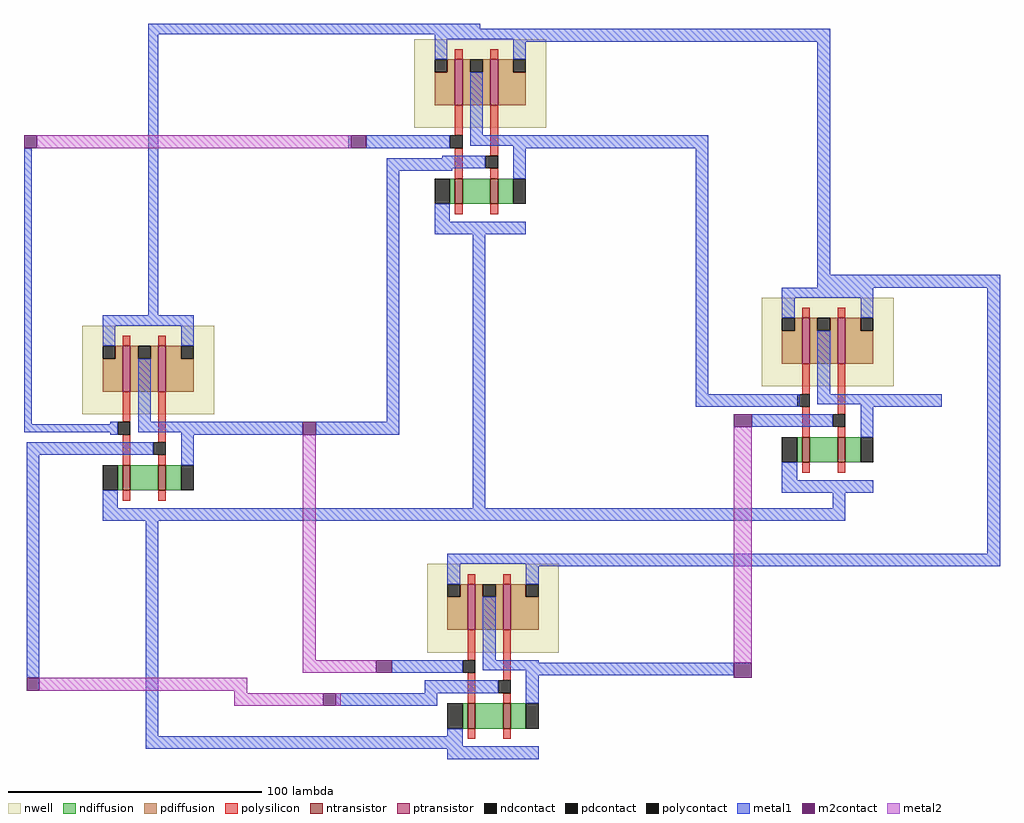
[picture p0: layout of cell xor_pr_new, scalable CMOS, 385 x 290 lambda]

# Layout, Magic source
magic
tech scmos
<< metal1 >>
rect 19 189 150 193
rect -30 35 -27 144
rect 19 74 23 189
rect 163 186 288 191
rect 98 144 99 149
rect 105 144 138 149
rect 163 144 240 149
rect 113 135 139 140
rect 113 36 118 135
rect -30 32 7 35
rect 32 31 80 36
rect 85 31 118 36
rect -29 23 9 28
rect -29 -65 -24 23
rect 147 2 152 115
rect 235 47 240 144
rect 283 94 288 186
rect 283 89 355 94
rect 283 86 288 89
rect 235 42 276 47
rect 300 42 332 47
rect 257 34 277 39
rect 289 2 294 13
rect 18 -88 23 2
rect 32 -3 294 2
rect 350 -16 355 89
rect 168 -21 355 -16
rect 115 -63 143 -58
rect 168 -64 250 -59
rect 128 -71 145 -66
rect 93 -76 133 -71
rect 18 -93 141 -88
<< m2contact >>
rect -30 144 -25 149
rect 99 144 105 149
rect 80 31 85 36
rect 250 34 257 39
rect -29 -70 -24 -65
rect 109 -63 115 -58
rect 250 -65 257 -59
rect 88 -76 93 -71
<< metal2 >>
rect -25 144 99 149
rect 80 -58 85 31
rect 80 -63 109 -58
rect 250 -59 257 34
rect -24 -70 58 -65
rect 53 -71 58 -70
rect 53 -76 88 -71
rect 93 -76 95 -71
use nand_unlab_pr  nand_unlab_pr_3
transform 1 0 285 0 1 59
box -24 -51 28 30
use nand_unlab_pr  nand_unlab_pr_2
transform 1 0 153 0 1 -46
box -24 -51 28 30
use nand_unlab_pr  nand_unlab_pr_1
transform 1 0 148 0 1 161
box -24 -51 28 30
use nand_unlab_pr  nand_unlab_pr_0
transform 1 0 17 0 1 48
box -24 -51 28 30
<< end >>

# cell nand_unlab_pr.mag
magic
tech scmos
<< nwell >>
rect -24 -9 28 26
<< ntransistor >>
rect -8 -39 -5 -29
rect 6 -39 9 -29
<< ptransistor >>
rect -8 0 -5 18
rect 6 0 9 18
<< ndiffusion >>
rect -10 -39 -8 -29
rect -5 -39 6 -29
rect 9 -39 15 -29
<< pdiffusion >>
rect -11 13 -8 18
rect -16 0 -8 13
rect -5 13 -2 18
rect 3 13 6 18
rect -5 0 6 13
rect 9 13 15 18
rect 9 0 20 13
<< ndcontact >>
rect -16 -39 -10 -29
rect 15 -39 20 -29
<< pdcontact >>
rect -16 13 -11 18
rect -2 13 3 18
rect 15 13 20 18
<< polysilicon >>
rect -8 18 -5 22
rect 6 18 9 22
rect -8 -12 -5 0
rect -8 -29 -5 -17
rect 6 -20 9 0
rect 6 -29 9 -25
rect -8 -43 -5 -39
rect 6 -43 9 -39
<< polycontact >>
rect -10 -17 -5 -12
rect 4 -25 9 -20
<< metal1 >>
rect -16 26 20 30
rect -16 18 -11 26
rect 15 18 20 26
rect -2 -12 3 13
rect -13 -17 -10 -12
rect -2 -16 20 -12
rect -13 -25 4 -20
rect 15 -29 20 -16
rect -16 -46 -10 -39
rect -16 -51 20 -46
<< end >>
